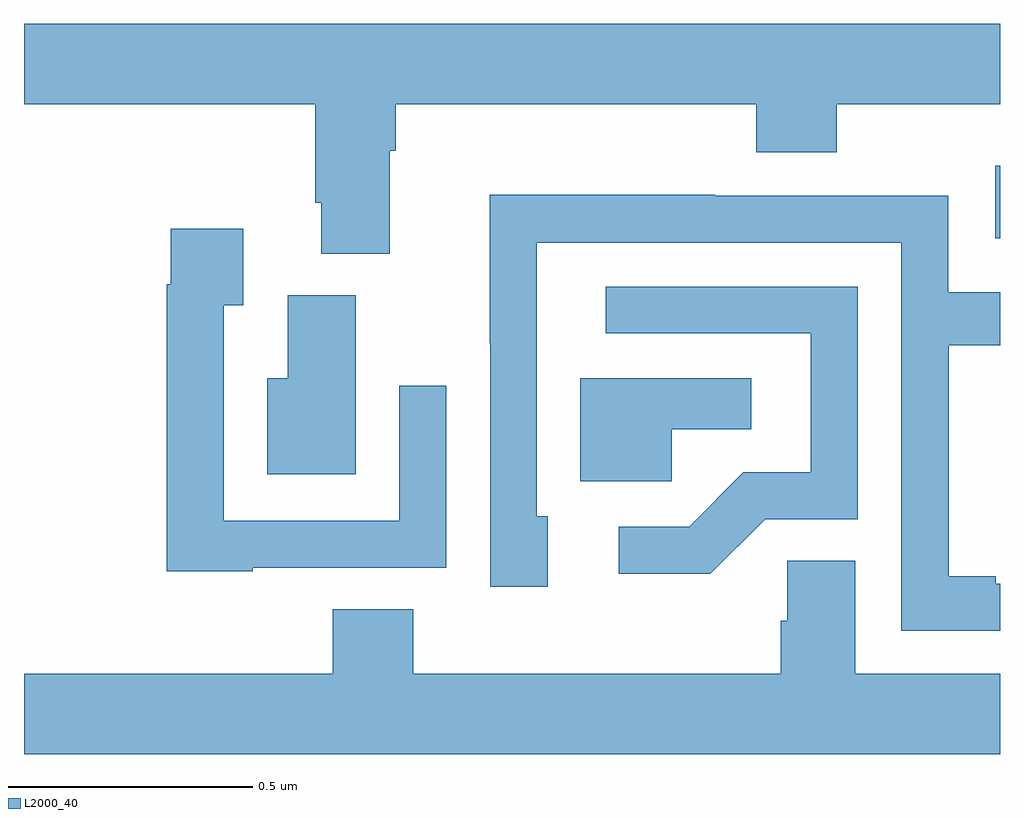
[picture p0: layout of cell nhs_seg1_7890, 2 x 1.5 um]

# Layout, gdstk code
import gdstk
lib = gdstk.Library(unit=1e-6, precision=1e-09)
def R(c, l, rs):  # rectangles x0, y0, x1, y1
    for r in rs: c.add(gdstk.rectangle(r[:2], r[2:], *l))
def P(c, l, *ps):  # polygons
    for p in ps: c.add(gdstk.Polygon(p, *l))
L2000_40 = (2000, 40)

nhs_seg1_7890 = lib.new_cell('nhs_seg1_7890')
R(nhs_seg1_7890, L2000_40, [(210.99,567.441,211,567.589)])
P(nhs_seg1_7890, L2000_40, [(209.749,567.62),(209.762,567.62),(209.762,567.716),(210.5,567.716),(210.5,567.617),(210.665,567.617),(210.665,567.716),(211,567.716),(211,567.88),(209,567.88),(209,567.716),(209.597,567.716),(209.597,567.514),(209.609,567.514),(209.609,567.409),(209.749,567.409)],
  [(211,566.733),(210.991,566.733),(210.991,566.748),(210.895,566.748),(210.895,567.222),(211,567.222),(211,567.33),(210.894,567.33),(210.894,567.528),(210.416,567.528),(210.416,567.53),(209.954,567.53),(209.954,567.226),(209.955,567.226),(209.955,566.727),(210.073,566.727),(210.073,566.871),(210.051,566.871),(210.051,567.432),(210.798,567.432),(210.798,566.637),(211,566.637)],
  [(209.469,566.766),(209.865,566.766),(209.865,567.139),(209.769,567.139),(209.769,566.862),(209.409,566.862),(209.409,567.304),(209.449,567.304),(209.449,567.46),(209.301,567.46),(209.301,567.347),(209.293,567.347),(209.293,566.759),(209.469,566.759)],
  [(210.519,566.865),(210.708,566.865),(210.708,567.342),(210.192,567.342),(210.192,567.246),(210.612,567.246),(210.612,566.961),(210.474,566.961),(210.363,566.85),(210.219,566.85),(210.219,566.753),(210.406,566.753)],
  [(209.68,567.324),(209.54,567.324),(209.54,567.154),(209.498,567.154),(209.498,566.957),(209.68,566.957)],
  [(210.327,567.05),(210.49,567.05),(210.49,567.154),(210.14,567.154),(210.14,566.943),(210.327,566.943)],
  [(211,566.548),(210.703,566.548),(210.703,566.78),(210.564,566.78),(210.564,566.657),(210.551,566.657),(210.551,566.548),(209.798,566.548),(209.798,566.681),(209.633,566.681),(209.633,566.548),(209,566.548),(209,566.384),(211,566.384)])

lib.write_gds('nhs_seg1_7890.gds')
